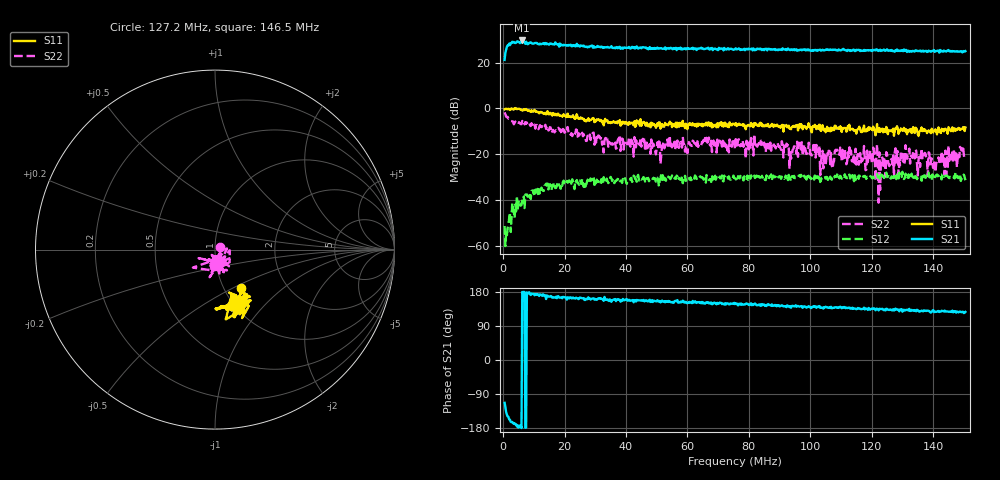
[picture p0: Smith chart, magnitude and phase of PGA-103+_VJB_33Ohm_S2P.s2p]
!Keysight Technologies N9926A: A.10.18
!Date: Saturday, 25 July 2020 11:54:18
!Timezone:
!Model: N9926A
!Serial: MY57271140
!GPS Latitude:
!GPS Longitude:
!GPS TimeStamp: 0001-01-01 00:00:00Z
!GPS Seconds Since Last Read: 0
!CHECKSUM:1274141403
!Correction: S11(ON U)S21(ON U)S12(ON U)S22(ON U)
!S2P File: Measurements:S11,S21,S12,S22:
# Hz S DB R 50
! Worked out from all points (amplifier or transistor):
!   601 points, 500 kHz to 150.5 MHz, reference 50 ohm
!   highest |S21| = 29.6 dB at 6 MHz (marker M1)
!   |S21| within 3 dB of that: 1.198 MHz to 29.21 MHz (28.01 MHz wide, 184 % of centre)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
!   unconditionally stable (mu >= 1): 105.5 MHz to 107.9 MHz; 121.9 MHz to 124.6 MHz; 134.5 MHz to 137.2 MHz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
!   at 25.5 MHz: K = 0.82, MSG = 30.0 dB, |S12| = -32.8 dB
!   at 75.5 MHz: K = 0.98, MSG = 28.1 dB, |S12| = -30.4 dB
!   at 150.5 MHz: K = 1.10, MAG = 26.1 dB, |S12| = -31.2 dB
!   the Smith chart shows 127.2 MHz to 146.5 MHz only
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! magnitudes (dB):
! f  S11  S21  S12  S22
! 500 kHz  -0.4  21.1  -51.1  -1.7
! 2.25 MHz  -0.6  27.6  -45.2  -4.9
! 6 MHz  -0.5  29.6  -42.0  -6.9
! 14.25 MHz  -1.5  28.3  -33.6  -7.7
! 25.5 MHz  -4.3  27.3  -32.8  -11.3
! 50.5 MHz  -7.5  26.0  -31.4  -16.9
! 75.5 MHz  -7.2  25.8  -30.4  -17.5
! 93.75 MHz  -9.0  25.7  -31.6  -21.8
! 100.5 MHz  -10.4  25.1  -30.2  -20.4
! 107 MHz  -9.7  25.5  -31.0  -24.8
! 109 MHz  -8.7  25.2  -30.8  -19.4
! 114.2 MHz  -9.7  25.5  -31.6  -20.8
! 120.2 MHz  -9.4  25.5  -30.5  -24.0
! 121.2 MHz  -11.6  25.2  -29.5  -31.6
! 122 MHz  -9.9  25.1  -29.9  -24.0
! 125.5 MHz  -9.4  25.1  -28.8  -24.3
! 133.8 MHz  -10.3  25.0  -31.3  -19.4
! 135.2 MHz  -12.0  25.0  -29.8  -22.3
! 137 MHz  -9.8  24.8  -29.3  -20.4
! 140.5 MHz  -9.6  24.6  -30.9  -24.5
! 149 MHz  -8.9  25.0  -31.5  -17.2
! 150.5 MHz  -8.2  25.0  -31.2  -22.3
